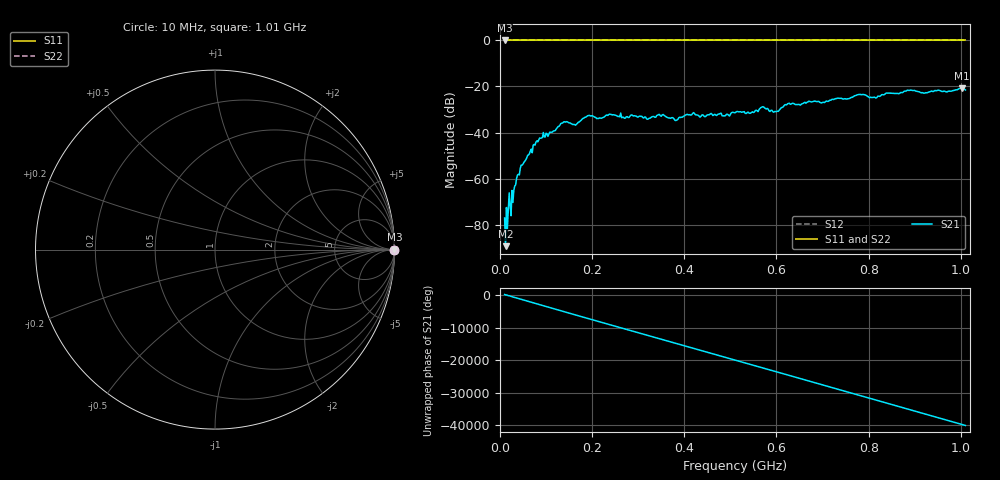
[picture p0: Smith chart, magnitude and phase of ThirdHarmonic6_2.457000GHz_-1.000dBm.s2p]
! 8/17/2025 4:25:54 AM
! C:\ANRITSUVNA\TEMP\TEMP.S2P
! CHANNEL.1
! TR.MEASUREMENT
! RAW.DATA
! RF.CORRECTION.OFF
! AVERAGING.OFF
! IF.BANDWIDTH: 5KHZ
! SWEEPTYPE:  FREQ.SWEEP(Linear)
! Reference Plane Port Info
! PORT:  PORT1  PORT2
! DISTANCE:  0  m  0  m
! TIME:  0  s  0  s
! PHASE.OFFSET:  0  deg.  0  deg.
! LOSS:  0  dB  0  dB
! REF.LOSS:  0  dB  0  dB
! REF.FREQ:  0  Hz  0  Hz
! Power Info
! POWER:  -20  dBm  -20  dBm
! EFF.POWER:  -20  dBm  -20  dBm
! SOURCE.ATTEN:  0  dB  0  dB
! TEST.ATTEN:  0  dB  0  dB
# GHZ S RI R 50.0
! FREQ.GHZ  S11RE  S11IM  S21RE  S21IM  S12RE  S12IM  S22RE  S22IM
!; PortSelection: Port_12
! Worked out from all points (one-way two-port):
!   501 points, 10 MHz to 1.01 GHz, reference 50 ohm
!   highest |S21| = -20.72 dB at 1.002 GHz (marker M1); lowest = -89.4 dB at 12 MHz (marker M2)
!   lowest |S11| = 0.0 dB at 10 MHz (marker M3)
!   |S11| at or under -10 dB: nowhere
!   |S22| runs from 0.0 to 0.0 dB; largest |S21 - S12| = 1.1
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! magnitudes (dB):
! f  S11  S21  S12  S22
! 10 MHz  0.0  -77.2  0.0  0.0
! 12 MHz  0.0  -89.4  0.0  0.0
! 26 MHz  0.0  -65.2  0.0  0.0
! 34 MHz  0.0  -62.7  0.0  0.0
! 42 MHz  0.0  -58.4  0.0  0.0
! 76 MHz  0.0  -45.5  0.0  0.0
! 136 MHz  0.0  -35.8  0.0  0.0
! 162 MHz  0.0  -36.5  0.0  0.0
! 178 MHz  0.0  -34.2  0.0  0.0
! 194 MHz  0.0  -32.6  0.0  0.0
! 344 MHz  0.0  -32.2  0.0  0.0
! 382 MHz  0.0  -34.8  0.0  0.0
! 418 MHz  0.0  -31.7  0.0  0.0
! 510 MHz  0.0  -31.4  0.0  0.0
! 546 MHz  0.0  -31.3  0.0  0.0
! 570 MHz  0.0  -28.8  0.0  0.0
! 598 MHz  0.0  -30.9  0.0  0.0
! 624 MHz  0.0  -27.6  0.0  0.0
! 678 MHz  0.0  -26.6  0.0  0.0
! 844 MHz  0.0  -22.8  0.0  0.0
! 1.002 GHz  0.0  -20.7  0.0  0.0
! 1.01 GHz  0.0  -21.5  0.0  0.0
